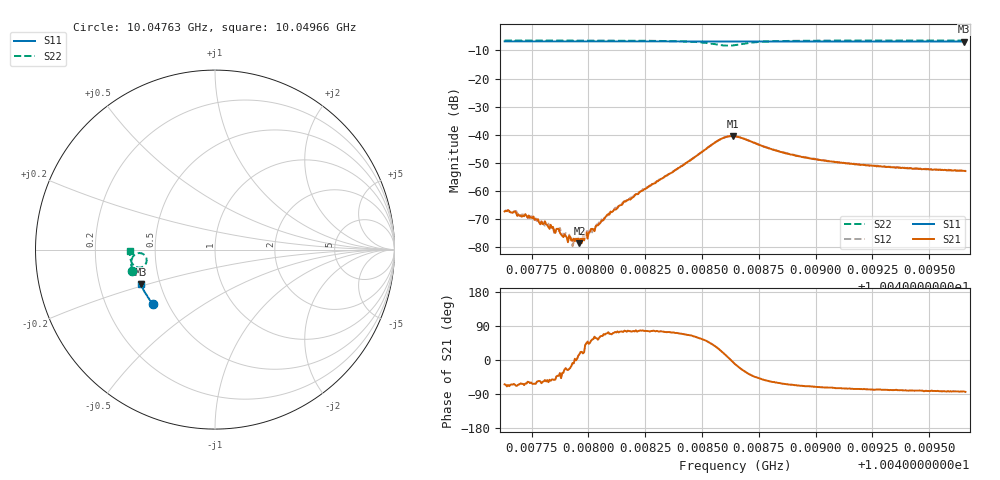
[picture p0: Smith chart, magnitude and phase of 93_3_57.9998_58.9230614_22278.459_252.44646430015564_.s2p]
#  HZ  S  RI  R  50.00
! Rohde & Schwarz Vector Network Analyzer
! Rohde-Schwarz,ZNB20-2Port,1311601062101988,3.16
! Created: UTC 3/21/2024, 12:54:24 AM
! freq[Hz]  re:S11  im:S11  re:S21  im:S21  re:S12  im:S12  re:S22  im:S22
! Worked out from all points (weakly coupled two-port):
!   401 points, 10.04763 GHz to 10.04966 GHz, reference 50 ohm
!   highest |S21| = -40.44 dB at 10.04864 GHz (marker M1); lowest = -78.6 dB at 10.04796 GHz (marker M2)
!   lowest |S11| = -6.8 dB at 10.04965 GHz (marker M3), VSWR 2.68, Z = 19.4 - j9.43 ohm
!   |S11| at or under -10 dB: nowhere
!   |S22| runs from -8.3 to -6.4 dB; largest |S21 - S12| = 0.00068
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1.0047631e10  -0.3439 -0.3055  0.000189 -0.000392  0.000231 -0.000395  -0.4616 -0.1185
1.0047747e10  -0.3489 -0.2993  0.000174 -0.000294  0.000192 -0.000304  -0.4635 -0.1099
1.0047859e10  -0.3535 -0.2934  0.000156 -0.000145  0.000151 -0.000146  -0.4648 -0.1012
1.0047869e10  -0.354 -0.2929  0.00016 -0.000142  0.000157 -0.000118  -0.465 -0.1003
1.004791e10  -0.3556 -0.2907  0.00011 -5.51e-05  0.00016 -7.33e-05  -0.4653 -0.0971
1.004793e10  -0.3564 -0.2897  0.00013 -1.85e-05  0.000104 -1.64e-05  -0.4655 -0.0955
1.004796e10  -0.3577 -0.288  0.000113 3.19e-05  0.000119 4.58e-05  -0.4659 -0.0929
1.004797e10  -0.3582 -0.2875  0.000111 4.34e-05  0.000121 5.95e-05  -0.4659 -0.092
1.0047991e10  -0.3588 -0.2865  0.000132 0.000128  0.000143 0.000127  -0.4661 -0.0902
1.0048011e10  -0.3597 -0.2854  0.000134 0.000164  0.000105 0.000173  -0.4662 -0.0886
1.0048036e10  -0.3608 -0.284  0.000134 0.000207  0.000107 0.000233  -0.4664 -0.0863
1.0048087e10  -0.3628 -0.2813  0.000112 0.000374  0.000133 0.000351  -0.4668 -0.0816
1.0048158e10  -0.3655 -0.2774  0.000145 0.000643  0.000128 0.000642  -0.4668 -0.0745
1.004831e10  -0.3713 -0.2692  0.000402 0.00151  0.000333 0.00156  -0.4645 -0.0564
1.0048569e10  -0.3801 -0.2543  0.0067 0.00409  0.00646 0.00452  -0.4016 -0.0244
1.0048635e10  -0.3819 -0.2511  0.00947 -0.000847  0.00953 -0.000209  -0.3824 -0.0714
1.0048645e10  -0.3823 -0.2506  0.00921 -0.00175  0.00943 -0.00111  -0.3857 -0.0792
1.0048833e10  -0.3892 -0.2407  0.00255 -0.00448  0.00284 -0.00437  -0.4559 -0.0842
1.0048985e10  -0.3944 -0.2317  0.00129 -0.00354  0.00149 -0.00348  -0.4678 -0.0632
1.0049325e10  -0.4051 -0.2117  0.000487 -0.00263  0.000654 -0.00263  -0.4741 -0.031
1.0049655e10  -0.414 -0.1919  0.000271 -0.00227  0.000393 -0.00227  -0.4753 -0.00558
1.004966e10  -0.4142 -0.1916  0.000234 -0.00226  0.000421 -0.00229  -0.4754 -0.00509
